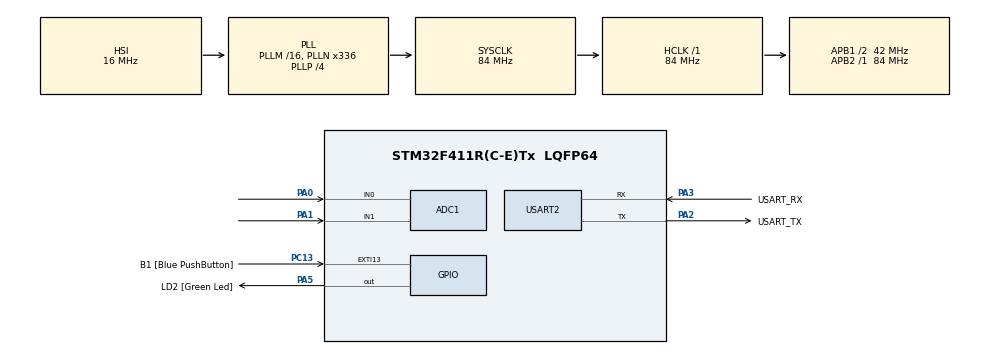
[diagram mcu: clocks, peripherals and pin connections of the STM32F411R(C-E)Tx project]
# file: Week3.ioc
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ADC1.Channel-0\#ChannelRegularConversion=ADC_CHANNEL_0
ADC1.NbrOfConversionFlag=1
ADC1.Rank-0\#ChannelRegularConversion=1
ADC1.SamplingTime-0\#ChannelRegularConversion=ADC_SAMPLETIME_3CYCLES
ADC1.master=1
Mcu.Family=STM32F4
Mcu.Name=STM32F411R(C-E)Tx
Mcu.Package=LQFP64
NVIC.PriorityGroup=NVIC_PRIORITYGROUP_0
PA0-WKUP.Signal=ADCx_IN0
PA1.Signal=ADCx_IN1
PA13.GPIO_Label=TMS
PA13.Mode=Serial_Wire
PA13.Signal=SYS_JTMS-SWDIO
PA14.GPIO_Label=TCK
PA14.Mode=Serial_Wire
PA14.Signal=SYS_JTCK-SWCLK
PA2.GPIO_Label=USART_TX
PA2.Mode=Asynchronous
PA2.Signal=USART2_TX
PA3.GPIO_Label=USART_RX
PA3.Mode=Asynchronous
PA3.Signal=USART2_RX
PA5.GPIO_Label=LD2 [Green Led]
PA5.Signal=GPIO_Output
PB3.GPIO_Label=SWO
PB3.Signal=SYS_JTDO-SWO
PC13-ANTI_TAMP.GPIO_Label=B1 [Blue PushButton]
PC13-ANTI_TAMP.GPIO_ModeDefaultEXTI=GPIO_MODE_IT_FALLING
PC13-ANTI_TAMP.Signal=GPXTI13
PC14-OSC32_IN.Mode=LSE-External-Oscillator
PC14-OSC32_IN.Signal=RCC_OSC32_IN
PC15-OSC32_OUT.Mode=LSE-External-Oscillator
PC15-OSC32_OUT.Signal=RCC_OSC32_OUT
PH0\ -\ OSC_IN.Mode=HSE-External-Clock-Source
PH0\ -\ OSC_IN.Signal=RCC_OSC_IN
PH1\ -\ OSC_OUT.Mode=HSE-External-Clock-Source
PH1\ -\ OSC_OUT.Signal=RCC_OSC_OUT
ProjectManager.HeapSize=0x200
ProjectManager.StackSize=0x400
ProjectManager.TargetToolchain=STM32CubeIDE
RCC.48MHZClocksFreq_Value=84000000
RCC.AHBFreq_Value=84000000
RCC.APB1CLKDivider=RCC_HCLK_DIV2
RCC.APB1Freq_Value=42000000
RCC.APB1TimFreq_Value=84000000
RCC.APB2Freq_Value=84000000
RCC.APB2TimFreq_Value=84000000
RCC.CortexFreq_Value=84000000
RCC.FLatency-AdvancedSettings=FLASH_LATENCY_2
RCC.HCLKFreq_Value=84000000
RCC.HSE_VALUE=8000000
RCC.HSI_VALUE=16000000
RCC.PLLN=336
RCC.PLLP=RCC_PLLP_DIV4
RCC.SYSCLKFreq_VALUE=84000000
RCC.SYSCLKSource=RCC_SYSCLKSOURCE_PLLCLK
RCC.VCOOutputFreq_Value=336000000
SH.ADCx_IN0.0=ADC1_IN0,IN0
SH.ADCx_IN1.0=ADC1_IN1,IN1
USART2.VirtualMode=VM_ASYNC
VP_ADC1_TempSens_Input.Mode=IN-TempSens
board=NUCLEO-F411RE

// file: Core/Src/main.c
/* USER CODE BEGIN Header */
/**
 ******************************************************************************
 * @file           : main.c
 * @brief          : Main program body
 ******************************************************************************
 * @attention
 *
 * Copyright (c) 2022 STMicroelectronics.
 * All rights reserved.
 *
 * This software is licensed under terms that can be found in the LICENSE file
 * in the root directory of this software component.
 * If no LICENSE file comes with this software, it is provided AS-IS.
 *
 ******************************************************************************
 */
/* USER CODE END Header */
#include "main.h"

ADC_HandleTypeDef hadc1;

UART_HandleTypeDef huart2;

/* USER CODE BEGIN PV */
uint8_t trigger = 0;
uint8_t ADCMode = 0;
uint16_t ADCOutputConverted;
/* USER CODE END PV */

void SystemClock_Config(void);
static void MX_GPIO_Init(void);
static void MX_USART2_UART_Init(void);
static void MX_ADC1_Init(void);
/* USER CODE BEGIN PFP */
typedef struct {
	ADC_ChannelConfTypeDef Config;
	uint16_t data;
} ADCstructure;

ADCstructure ADCChannel[2];
/* USER CODE END PFP */

/* USER CODE BEGIN 0 */
uint8_t buttonPress(uint8_t);
void ADCConfigInit();
void ADCPolling();
/* USER CODE END 0 */

int main(void) {

	/* MCU Configuration--------------------------------------------------------*/

	/* Reset of all peripherals, Initializes the Flash interface and the Systick. */
	HAL_Init();

	/* Configure the system clock */
	SystemClock_Config();

	/* Initialize all configured peripherals */
	MX_GPIO_Init();
	MX_USART2_UART_Init();
	MX_ADC1_Init();
	/* USER CODE BEGIN 2 */
	ADCConfigInit();
	/* USER CODE END 2 */

	/* Infinite loop */
	/* USER CODE BEGIN WHILE */
	while (1) {
		ADCPolling();
		//HAL_GPIO_WritePin(GPIOA, GPIO_PIN_5, HAL_GPIO_ReadPin(GPIOC, GPIO_PIN_13));
		trigger = buttonPress(HAL_GPIO_ReadPin(GPIOC, GPIO_PIN_13));
		if (trigger) {
			ADCMode ^= 1;
		}
		switch (ADCMode) {
		case 0:
			HAL_GPIO_WritePin(GPIOA, GPIO_PIN_5,0);
			ADCOutputConverted = ADCChannel[0].data*3300/4095;
			break;
		case 1:
			HAL_GPIO_WritePin(GPIOA, GPIO_PIN_5,1);
			ADCOutputConverted = (ADCChannel[1].data - ((0.76/3.3) * 4095))/2.5 +25;
			break;
		}
		/* USER CODE END WHILE */

	}
}

void SystemClock_Config(void) {
	RCC_OscInitTypeDef RCC_OscInitStruct = { 0 };
	RCC_ClkInitTypeDef RCC_ClkInitStruct = { 0 };

	/** Configure the main internal regulator output voltage
	 */
	__HAL_RCC_PWR_CLK_ENABLE();
	__HAL_PWR_VOLTAGESCALING_CONFIG(PWR_REGULATOR_VOLTAGE_SCALE1);
	/** Initializes the RCC Oscillators according to the specified parameters
	 * in the RCC_OscInitTypeDef structure.
	 */
	RCC_OscInitStruct.OscillatorType = RCC_OSCILLATORTYPE_HSI;
	RCC_OscInitStruct.HSIState = RCC_HSI_ON;
	RCC_OscInitStruct.HSICalibrationValue = RCC_HSICALIBRATION_DEFAULT;
	RCC_OscInitStruct.PLL.PLLState = RCC_PLL_ON;
	RCC_OscInitStruct.PLL.PLLSource = RCC_PLLSOURCE_HSI;
	RCC_OscInitStruct.PLL.PLLM = 16;
	RCC_OscInitStruct.PLL.PLLN = 336;
	RCC_OscInitStruct.PLL.PLLP = RCC_PLLP_DIV4;
	RCC_OscInitStruct.PLL.PLLQ = 4;
	if (HAL_RCC_OscConfig(&RCC_OscInitStruct) != HAL_OK) {
		Error_Handler();
	}
	/** Initializes the CPU, AHB and APB buses clocks
	 */
	RCC_ClkInitStruct.ClockType = RCC_CLOCKTYPE_HCLK | RCC_CLOCKTYPE_SYSCLK
			| RCC_CLOCKTYPE_PCLK1 | RCC_CLOCKTYPE_PCLK2;
	RCC_ClkInitStruct.SYSCLKSource = RCC_SYSCLKSOURCE_PLLCLK;
	RCC_ClkInitStruct.AHBCLKDivider = RCC_SYSCLK_DIV1;
	RCC_ClkInitStruct.APB1CLKDivider = RCC_HCLK_DIV2;
	RCC_ClkInitStruct.APB2CLKDivider = RCC_HCLK_DIV1;

	if (HAL_RCC_ClockConfig(&RCC_ClkInitStruct, FLASH_LATENCY_2) != HAL_OK) {
		Error_Handler();
	}
}

static void MX_ADC1_Init(void) {

	ADC_ChannelConfTypeDef sConfig = { 0 };

	/** Configure the global features of the ADC (Clock, Resolution, Data Alignment and number of conversion)
	 */
	hadc1.Instance = ADC1;
	hadc1.Init.ClockPrescaler = ADC_CLOCK_SYNC_PCLK_DIV4;
	hadc1.Init.Resolution = ADC_RESOLUTION_12B;
	hadc1.Init.ScanConvMode = DISABLE;
	hadc1.Init.ContinuousConvMode = DISABLE;
	hadc1.Init.DiscontinuousConvMode = DISABLE;
	hadc1.Init.ExternalTrigConvEdge = ADC_EXTERNALTRIGCONVEDGE_NONE;
	hadc1.Init.ExternalTrigConv = ADC_SOFTWARE_START;
	hadc1.Init.DataAlign = ADC_DATAALIGN_RIGHT;
	hadc1.Init.NbrOfConversion = 1;
	hadc1.Init.DMAContinuousRequests = DISABLE;
	hadc1.Init.EOCSelection = ADC_EOC_SINGLE_CONV;
	if (HAL_ADC_Init(&hadc1) != HAL_OK) {
		Error_Handler();
	}
	/** Configure for the selected ADC regular channel its corresponding rank in the sequencer and its sample time.
	 */
	sConfig.Channel = ADC_CHANNEL_0;
	sConfig.Rank = 1;
	sConfig.SamplingTime = ADC_SAMPLETIME_3CYCLES;
	if (HAL_ADC_ConfigChannel(&hadc1, &sConfig) != HAL_OK) {
		Error_Handler();
	}

}

static void MX_USART2_UART_Init(void) {

	huart2.Instance = USART2;
	huart2.Init.BaudRate = 115200;
	huart2.Init.WordLength = UART_WORDLENGTH_8B;
	huart2.Init.StopBits = UART_STOPBITS_1;
	huart2.Init.Parity = UART_PARITY_NONE;
	huart2.Init.Mode = UART_MODE_TX_RX;
	huart2.Init.HwFlowCtl = UART_HWCONTROL_NONE;
	huart2.Init.OverSampling = UART_OVERSAMPLING_16;
	if (HAL_UART_Init(&huart2) != HAL_OK) {
		Error_Handler();
	}

}

static void MX_GPIO_Init(void) {
	GPIO_InitTypeDef GPIO_InitStruct = { 0 };

	/* GPIO Ports Clock Enable */
	__HAL_RCC_GPIOC_CLK_ENABLE();
	__HAL_RCC_GPIOH_CLK_ENABLE();
	__HAL_RCC_GPIOA_CLK_ENABLE();
	__HAL_RCC_GPIOB_CLK_ENABLE();

	/*Configure GPIO pin Output Level */
	HAL_GPIO_WritePin(LD2_GPIO_Port, LD2_Pin, GPIO_PIN_RESET);

	/*Configure GPIO pin : B1_Pin */
	GPIO_InitStruct.Pin = B1_Pin;
	GPIO_InitStruct.Mode = GPIO_MODE_IT_FALLING;
	GPIO_InitStruct.Pull = GPIO_NOPULL;
	HAL_GPIO_Init(B1_GPIO_Port, &GPIO_InitStruct);

	/*Configure GPIO pin : LD2_Pin */
	GPIO_InitStruct.Pin = LD2_Pin;
	GPIO_InitStruct.Mode = GPIO_MODE_OUTPUT_PP;
	GPIO_InitStruct.Pull = GPIO_NOPULL;
	GPIO_InitStruct.Speed = GPIO_SPEED_FREQ_LOW;
	HAL_GPIO_Init(LD2_GPIO_Port, &GPIO_InitStruct);

}

/* USER CODE BEGIN 4 */

uint8_t buttonPress(uint8_t button) {
	static uint8_t buttonState = 0;
	if (!button) {
		if (!buttonState) {
			buttonState = 1;
			return 1;
		}
	} else {
		buttonState = 0;
	}
	return 0;
}

void ADCConfigInit() {
	//PA0
	ADCChannel[0].Config.Channel = ADC_CHANNEL_0;
	ADCChannel[0].Config.Rank = 1;
	ADCChannel[0].Config.SamplingTime = ADC_SAMPLETIME_3CYCLES;
	//temperature
	ADCChannel[1].Config.Channel = ADC_CHANNEL_TEMPSENSOR;
	ADCChannel[1].Config.Rank = 1;
	ADCChannel[1].Config.SamplingTime = ADC_SAMPLETIME_3CYCLES;
}

void ADCPolling() {
	for (int i = 0; i < 2; i++) {
		HAL_ADC_ConfigChannel(&hadc1, &ADCChannel[i].Config);
		HAL_ADC_Start(&hadc1);
		if (HAL_ADC_PollForConversion(&hadc1, 10) == HAL_OK) {
			ADCChannel[i].data = HAL_ADC_GetValue(&hadc1);
		}
		HAL_ADC_Stop(&hadc1);
	}
}
/* USER CODE END 4 */

void Error_Handler(void) {
	__disable_irq();
	while (1) {
	}
}
